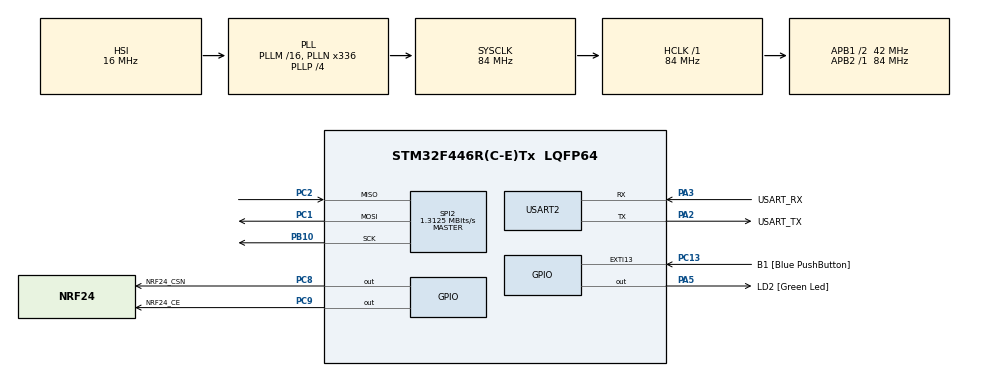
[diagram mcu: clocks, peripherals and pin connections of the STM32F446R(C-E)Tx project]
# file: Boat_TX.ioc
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Mcu.Family=STM32F4
Mcu.Name=STM32F446R(C-E)Tx
Mcu.Package=LQFP64
NVIC.PriorityGroup=NVIC_PRIORITYGROUP_0
PA13.GPIO_Label=TMS
PA13.Mode=Serial_Wire
PA13.Signal=SYS_JTMS-SWDIO
PA14.GPIO_Label=TCK
PA14.Mode=Serial_Wire
PA14.Signal=SYS_JTCK-SWCLK
PA2.GPIO_Label=USART_TX
PA2.Mode=Asynchronous
PA2.Signal=USART2_TX
PA3.GPIO_Label=USART_RX
PA3.Mode=Asynchronous
PA3.Signal=USART2_RX
PA5.GPIO_Label=LD2 [Green Led]
PA5.Signal=GPIO_Output
PB10.Mode=Full_Duplex_Master
PB10.Signal=SPI2_SCK
PB3.GPIO_Label=SWO
PB3.Signal=SYS_JTDO-SWO
PC1.Mode=Full_Duplex_Master
PC1.Signal=SPI2_MOSI
PC13.GPIO_Label=B1 [Blue PushButton]
PC13.GPIO_ModeDefaultEXTI=GPIO_MODE_IT_FALLING
PC13.Signal=GPXTI13
PC14-OSC32_IN.Mode=LSE-External-Oscillator
PC14-OSC32_IN.Signal=RCC_OSC32_IN
PC15-OSC32_OUT.Mode=LSE-External-Oscillator
PC15-OSC32_OUT.Signal=RCC_OSC32_OUT
PC2.Mode=Full_Duplex_Master
PC2.Signal=SPI2_MISO
PC8.GPIO_Label=NRF24_CSN
PC8.Signal=GPIO_Output
PC9.GPIO_Label=NRF24_CE
PC9.Signal=GPIO_Output
PH0-OSC_IN.Mode=HSE-External-Oscillator
PH0-OSC_IN.Signal=RCC_OSC_IN
PH1-OSC_OUT.Mode=HSE-External-Oscillator
PH1-OSC_OUT.Signal=RCC_OSC_OUT
ProjectManager.HeapSize=0x200
ProjectManager.StackSize=0x400
ProjectManager.TargetToolchain=STM32CubeIDE
RCC.48MHZClocksFreq_Value=84000000
RCC.AHBFreq_Value=84000000
RCC.APB1CLKDivider=RCC_HCLK_DIV2
RCC.APB1Freq_Value=42000000
RCC.APB1TimFreq_Value=84000000
RCC.APB2Freq_Value=84000000
RCC.APB2TimFreq_Value=84000000
RCC.CortexFreq_Value=84000000
RCC.FLatency-AdvancedSettings=FLASH_LATENCY_2
RCC.HCLKFreq_Value=84000000
RCC.HSE_VALUE=8000000
RCC.HSI_VALUE=16000000
RCC.PLLN=336
RCC.PLLP=RCC_PLLP_DIV4
RCC.SYSCLKFreq_VALUE=84000000
RCC.SYSCLKSource=RCC_SYSCLKSOURCE_PLLCLK
RCC.USBFreq_Value=168000000
RCC.VCOOutputFreq_Value=336000000
SPI2.BaudRatePrescaler=SPI_BAUDRATEPRESCALER_32
SPI2.CalculateBaudRate=1.3125 MBits/s
SPI2.Direction=SPI_DIRECTION_2LINES
SPI2.Mode=SPI_MODE_MASTER
SPI2.VirtualType=VM_MASTER
USART2.VirtualMode=VM_ASYNC
board=NUCLEO-F446RE

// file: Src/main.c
/* USER CODE BEGIN Header */
/**
  ******************************************************************************
  * @file           : main.c
  * @brief          : Main program body
  ******************************************************************************
  * @attention
  *
  * <h2><center>&copy; Copyright (c) 2020 STMicroelectronics.
  * All rights reserved.</center></h2>
  *
  * This software component is licensed by ST under BSD 3-Clause license,
  * the "License"; You may not use this file except in compliance with the
  * License. You may obtain a copy of the License at:
  *                        opensource.org/licenses/BSD-3-Clause
  *
  ******************************************************************************
  */
/* USER CODE END Header */

#include "main.h"
#include "spi.h"
#include "usart.h"
#include "gpio.h"

/* USER CODE BEGIN Includes */
#include "MY_NRF24.h"
/* USER CODE END Includes */

/* USER CODE BEGIN PV */
const uint64_t tx_pipe_addr = 0x11223344AA;
const uint8_t my_tx_data[32] = "Dupa";
uint8_t uart_buffer[];
/* USER CODE END PV */

void SystemClock_Config(void);

int main(void)
{

  /* MCU Configuration--------------------------------------------------------*/

  /* Reset of all peripherals, Initializes the Flash interface and the Systick. */
  HAL_Init();

  /* Configure the system clock */
  SystemClock_Config();

  /* Initialize all configured peripherals */
  MX_GPIO_Init();
  MX_SPI2_Init();
  MX_USART2_UART_Init();
  /* USER CODE BEGIN 2 */
  NRF24_begin(GPIOC, NRF24_CSN_Pin, NRF24_CE_Pin, hspi2);
  nrf24_DebugUART_Init(huart2);

  printRadioSettings();

  NRF24_stopListening();
  NRF24_openWritingPipe(tx_pipe_addr);
  NRF24_setAutoAck(false);
  NRF24_setChannel(52);
  NRF24_setPayloadSize(32);

  uint8_t size;
  /* USER CODE END 2 */

  /* Infinite loop */
  /* USER CODE BEGIN WHILE */
  while (1)
  {
	  if(NRF24_write(my_tx_data, 32)){
		  size = sprintf(uart_buffer, "Przeslano : %s\r\n", my_tx_data);
		  HAL_UART_Transmit(&huart2, uart_buffer, size, 100);
	  }

	  HAL_Delay(1000);
    /* USER CODE END WHILE */

  }
}

void SystemClock_Config(void)
{
  RCC_OscInitTypeDef RCC_OscInitStruct = {0};
  RCC_ClkInitTypeDef RCC_ClkInitStruct = {0};

  /** Configure the main internal regulator output voltage
  */
  __HAL_RCC_PWR_CLK_ENABLE();
  __HAL_PWR_VOLTAGESCALING_CONFIG(PWR_REGULATOR_VOLTAGE_SCALE3);
  /** Initializes the CPU, AHB and APB busses clocks
  */
  RCC_OscInitStruct.OscillatorType = RCC_OSCILLATORTYPE_HSI;
  RCC_OscInitStruct.HSIState = RCC_HSI_ON;
  RCC_OscInitStruct.HSICalibrationValue = RCC_HSICALIBRATION_DEFAULT;
  RCC_OscInitStruct.PLL.PLLState = RCC_PLL_ON;
  RCC_OscInitStruct.PLL.PLLSource = RCC_PLLSOURCE_HSI;
  RCC_OscInitStruct.PLL.PLLM = 16;
  RCC_OscInitStruct.PLL.PLLN = 336;
  RCC_OscInitStruct.PLL.PLLP = RCC_PLLP_DIV4;
  RCC_OscInitStruct.PLL.PLLQ = 2;
  RCC_OscInitStruct.PLL.PLLR = 2;
  if (HAL_RCC_OscConfig(&RCC_OscInitStruct) != HAL_OK)
  {
    Error_Handler();
  }
  /** Initializes the CPU, AHB and APB busses clocks
  */
  RCC_ClkInitStruct.ClockType = RCC_CLOCKTYPE_HCLK|RCC_CLOCKTYPE_SYSCLK
                              |RCC_CLOCKTYPE_PCLK1|RCC_CLOCKTYPE_PCLK2;
  RCC_ClkInitStruct.SYSCLKSource = RCC_SYSCLKSOURCE_PLLCLK;
  RCC_ClkInitStruct.AHBCLKDivider = RCC_SYSCLK_DIV1;
  RCC_ClkInitStruct.APB1CLKDivider = RCC_HCLK_DIV2;
  RCC_ClkInitStruct.APB2CLKDivider = RCC_HCLK_DIV1;

  if (HAL_RCC_ClockConfig(&RCC_ClkInitStruct, FLASH_LATENCY_2) != HAL_OK)
  {
    Error_Handler();
  }
}

void Error_Handler(void)
{
}

/************************ (C) COPYRIGHT STMicroelectronics *****END OF FILE****/
